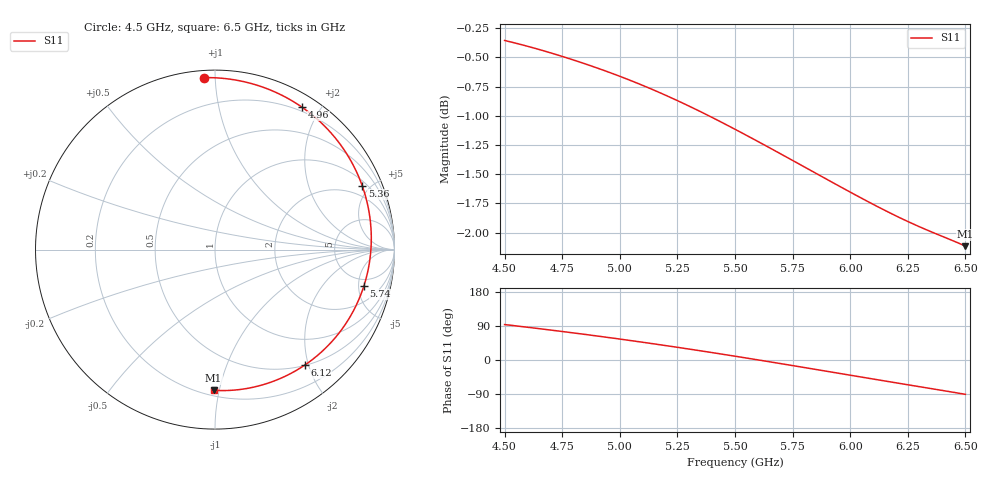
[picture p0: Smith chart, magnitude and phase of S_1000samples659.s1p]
! TOUCHSTONE file generated by CST MICROWAVE STUDIO
! Date and time: Fri Oct 28 22:43:05 2022
! Project name: L.cst
! Parameters = {Di=1.27; Epsilon_r=1.56; InnerDiameter=1.27; Length=2; Lf=10; Lg=60; OuterConductorThickness=0.2921; OuterDiameter=3.6; Wf=3; Wp=41.2; de=1.5; df=6.8; g=0.8; gx=2.02499; gy=3.99614; h=2.34; hf=1.524; px=8.25719; py=12.8983; w=9.7; wx=6.2322; wy=8.9022}
! Header version: 2018
! Port assignment regex: !\s*Touchstone port\s*([0-9]+)\s*=\s*(CST MWS port|CST DS port)\s*([0-9]+|Zmin|Zmax)\s*\(\"(.*)\"\)(\s*mode\s*([0-9]+))?.*
! Touchstone port assignment:
! Touchstone port 1 = CST MWS port 1 ("")
# GHz S DB R 50
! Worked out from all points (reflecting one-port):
!   101 points, 4.5 GHz to 6.5 GHz, reference 50 ohm
!   lowest |S11| = -2.1 dB at 6.5 GHz (marker M1), VSWR 8.25, Z = 11.8 - j48.1 ohm
!   phase of S11 starts at 94 deg and turns -184 deg over the sweep
!   S11 on the Smith chart (normalised r, x): 4.5 GHz: 0.04, +0.94; 4.96 GHz: 0.15, +1.77; 5.36 GHz: 1.28, +4.50; 5.74 GHz: 3.86, -5.78; 6.12 GHz: 0.50, -1.93; 6.5 GHz: 0.24, -0.96
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4.5  -0.36 93.5
4.64  -0.43 83.5
4.76  -0.50 74.5
4.86  -0.56 66.7
4.96  -0.63 58.6
5  -0.66 55.3
5.12  -0.76 45.0
5.2  -0.83 38.0
5.26  -0.88 32.6
5.36  -0.97 23.3
5.44  -1.05 15.8
5.5  -1.12 10.0
5.56  -1.18 4.2
5.62  -1.24 -1.7
5.68  -1.31 -7.7
5.74  -1.37 -13.7
5.76  -1.39 -15.7
5.82  -1.46 -21.8
5.88  -1.52 -27.9
6  -1.65 -40.1
6.06  -1.72 -46.2
6.12  -1.78 -52.2
6.2  -1.86 -60.3
6.26  -1.91 -66.3
6.32  -1.97 -72.4
6.38  -2.02 -78.4
6.44  -2.06 -84.4
6.5  -2.12 -90.6
